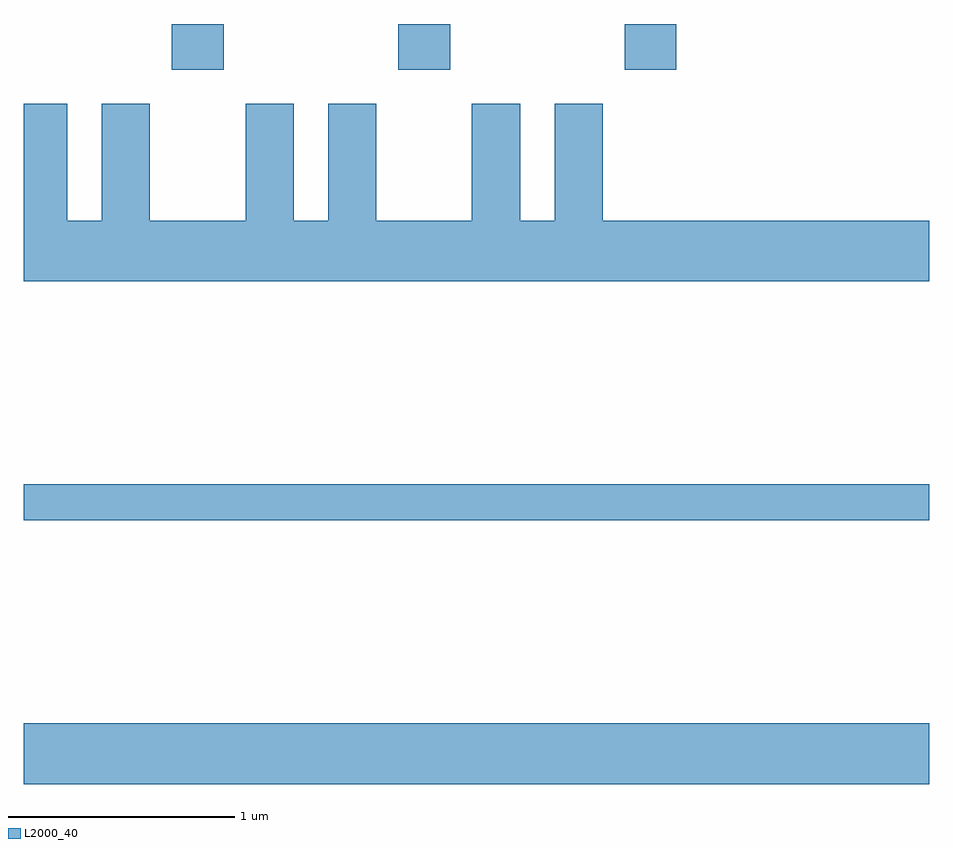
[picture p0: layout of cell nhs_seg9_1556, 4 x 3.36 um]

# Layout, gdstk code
import gdstk
lib = gdstk.Library(unit=1e-6, precision=1e-09)
def R(c, l, rs):  # rectangles x0, y0, x1, y1
    for r in rs: c.add(gdstk.rectangle(r[:2], r[2:], *l))
def A(c, l, x, y, w, h, nx, ny, dx, dy):  # array of equal rectangles
    R(c, l, [(x+i*dx, y+j*dy, x+i*dx+w, y+j*dy+h) for i in range(nx) for j in range(ny)])
def P(c, l, *ps):  # polygons
    for p in ps: c.add(gdstk.Polygon(p, *l))
L2000_40 = (2000, 40)

nhs_seg9_1556 = lib.new_cell('nhs_seg9_1556')
A(nhs_seg9_1556, L2000_40, 230.266, 2068.231, 0.228, 0.201, 3, 1, 1, 0)
R(nhs_seg9_1556, L2000_40, [(229.611,2065.076,233.611,2065.344), (229.611,2066.241,233.611,2066.399)])
P(nhs_seg9_1556, L2000_40, [(233.611,2067.564),(232.169,2067.564),(232.169,2068.079),(231.956,2068.079),(231.956,2067.564),(231.804,2067.564),(231.804,2068.079),(231.591,2068.079),(231.591,2067.564),(231.169,2067.564),(231.169,2068.079),(230.956,2068.079),(230.956,2067.564),(230.804,2067.564),(230.804,2068.079),(230.591,2068.079),(230.591,2067.564),(230.169,2067.564),(230.169,2068.079),(229.956,2068.079),(229.956,2067.564),(229.804,2067.564),(229.804,2068.079),(229.611,2068.079),(229.611,2067.296),(233.611,2067.296)])

lib.write_gds('nhs_seg9_1556.gds')
